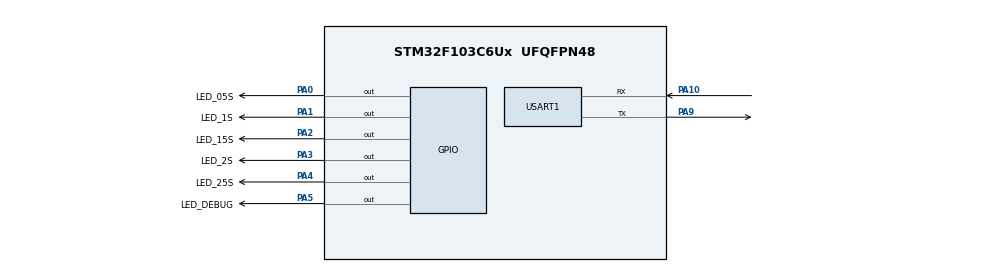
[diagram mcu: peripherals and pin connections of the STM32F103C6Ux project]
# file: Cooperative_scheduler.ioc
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Mcu.Family=STM32F1
Mcu.Name=STM32F103C6Ux
Mcu.Package=UFQFPN48
NVIC.PriorityGroup=NVIC_PRIORITYGROUP_4
NVIC.TIM2_IRQn=true\:0\:0\:false\:false\:true\:true\:true
PA0-WKUP.GPIO_Label=LED_05S
PA0-WKUP.PinState=GPIO_PIN_SET
PA0-WKUP.Signal=GPIO_Output
PA1.GPIO_Label=LED_1S
PA1.PinState=GPIO_PIN_SET
PA1.Signal=GPIO_Output
PA10.Mode=Asynchronous
PA10.Signal=USART1_RX
PA2.GPIO_Label=LED_15S
PA2.PinState=GPIO_PIN_SET
PA2.Signal=GPIO_Output
PA3.GPIO_Label=LED_2S
PA3.PinState=GPIO_PIN_SET
PA3.Signal=GPIO_Output
PA4.GPIO_Label=LED_25S
PA4.PinState=GPIO_PIN_SET
PA4.Signal=GPIO_Output
PA5.GPIO_Label=LED_DEBUG
PA5.PinState=GPIO_PIN_SET
PA5.Signal=GPIO_Output
PA9.Mode=Asynchronous
PA9.Signal=USART1_TX
ProjectManager.HeapSize=0x200
ProjectManager.StackSize=0x400
ProjectManager.TargetToolchain=STM32CubeIDE
RCC.APB1Freq_Value=8000000
RCC.APB2Freq_Value=8000000
TIM2.Period=9
TIM2.Prescaler=7999
USART1.VirtualMode=VM_ASYNC
VP_SYS_VS_ND.Mode=No_Debug
VP_TIM2_VS_ClockSourceINT.Mode=Internal
board=custom

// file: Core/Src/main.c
/* USER CODE BEGIN Header */
/**
  ******************************************************************************
  * @file           : main.c
  * @brief          : Main program body
  ******************************************************************************
  * @attention
  *
  * <h2><center>&copy; Copyright (c) 2026 STMicroelectronics.
  * All rights reserved.</center></h2>
  *
  * This software component is licensed by ST under BSD 3-Clause license,
  * the "License"; You may not use this file except in compliance with the
  * License. You may obtain a copy of the License at:
  *                        opensource.org/licenses/BSD-3-Clause
  *
  ******************************************************************************
  */
/* USER CODE END Header */
#include "main.h"

/* USER CODE BEGIN Includes */
#include <stdio.h>
#include "scheduler.h"
/* USER CODE END Includes */

/* USER CODE BEGIN PD */
// LED noi keo xuong (+3.3V -> R -> LED -> chan MCU): chan = 0 thi LED sang
#define LED_ON		GPIO_PIN_RESET
#define LED_OFF		GPIO_PIN_SET

// Task in timestamp moi 10 ms chi chay trong 1 s dau roi bi xoa (demo SCH_Delete_Task,
// tranh 100 dong/giay lam tran Virtual Terminal)
#define PRINT_10MS_DURATION_MS	1000
/* USER CODE END PD */

TIM_HandleTypeDef htim2;

UART_HandleTypeDef huart1;

/* USER CODE BEGIN PV */
static uint32_t id_print_10ms = NO_TASK_ID;		// giu ID de xoa task sau nay
/* USER CODE END PV */

void SystemClock_Config(void);
static void MX_GPIO_Init(void);
static void MX_TIM2_Init(void);
static void MX_USART1_UART_Init(void);

/* USER CODE BEGIN 0 */
// Chuyen printf ra USART1 (syscalls.c: _write -> __io_putchar tung ky tu)
int __io_putchar(int ch){
	HAL_UART_Transmit(&huart1, (uint8_t *)&ch, 1, 10);
	return ch;
}

/* ---------- 5 task tuan hoan (yeu cau chinh cua lab) ---------- */
// Dao LED roi in: task nao dang chay, tai thoi diem nao, LED sang hay tat
static void led_task(GPIO_TypeDef *port, uint16_t pin, const char *name){
	HAL_GPIO_TogglePin(port, pin);
	printf("[%-5s] t = %5lu ms -> LED %s\r\n", name, SCH_Get_Time(),
	       (HAL_GPIO_ReadPin(port, pin) == LED_ON) ? "sang" : "tat");
}
static void task_led_05s(void){ led_task(LED_05S_GPIO_Port, LED_05S_Pin, "0.5s"); }
static void task_led_1s(void)  { led_task(LED_1S_GPIO_Port,  LED_1S_Pin,  "1s");   }
static void task_led_15s(void){ led_task(LED_15S_GPIO_Port, LED_15S_Pin, "1.5s"); }
static void task_led_2s(void)  { led_task(LED_2S_GPIO_Port,  LED_2S_Pin,  "2s");   }
static void task_led_25s(void){ led_task(LED_25S_GPIO_Port, LED_25S_Pin, "2.5s"); }

/* ---------- Demo theo muc Demonstration cua de ---------- */
// Callback moi 10 ms: in gia tri get_time
static void task_print_10ms(void){
	printf("[10ms ] t = %5lu ms\r\n", SCH_Get_Time());
}

// Timeout 500 ms chay song song voi task 10 ms; LED_DEBUG lam nhip tim
static void task_print_500ms(void){
	HAL_GPIO_TogglePin(LED_DEBUG_GPIO_Port, LED_DEBUG_Pin);
	printf("[500ms] t = %5lu ms\r\n", SCH_Get_Time());
}

// One-shot: xoa task 10 ms theo ID (demo SCH_Delete_Task)
static void oneshot_stop_10ms(void){
	uint8_t ok = SCH_Delete_Task(id_print_10ms);
	printf("[one-shot] t = %5lu ms: xoa task 10ms (ID %lu) -> %s\r\n",
	       SCH_Get_Time(), id_print_10ms, ok ? "OK" : "KHONG TIM THAY");
}

// One-shot them truoc vong while: in timestamp khi het han.
// B1 va B2 cung hen 3000 ms, B1 them truoc -> phai in truoc (FIFO)
static void oneshot_A(void) { printf("[one-shot A ] t = %5lu ms (hen 2000 ms)\r\n", SCH_Get_Time()); }
static void oneshot_B1(void){ printf("[one-shot B1] t = %5lu ms (hen 3000 ms, them truoc B2)\r\n", SCH_Get_Time()); }
static void oneshot_B2(void){ printf("[one-shot B2] t = %5lu ms (hen 3000 ms, them sau B1)\r\n", SCH_Get_Time()); }
static void oneshot_C(void) { printf("[one-shot C ] t = %5lu ms (hen 4500 ms)\r\n", SCH_Get_Time()); }
/* USER CODE END 0 */

int main(void)
{

  /* MCU Configuration--------------------------------------------------------*/

  /* Reset of all peripherals, Initializes the Flash interface and the Systick. */
  HAL_Init();

  /* Configure the system clock */
  SystemClock_Config();

  /* Initialize all configured peripherals */
  MX_GPIO_Init();
  MX_TIM2_Init();
  MX_USART1_UART_Init();
  /* USER CODE BEGIN 2 */
  setvbuf(stdout, NULL, _IONBF, 0);		// tat bo dem stdout: in ra ngay, khong doi '\n'
  printf("\r\n=== Lab 4: Cooperative scheduler, tick %d ms ===\r\n", SCH_TICK_MS);

  SCH_Init();

  // 5 task tuan hoan 0.5 s, 1 s, 1.5 s, 2 s, 2.5 s (don vi tick, SCH_MS doi ms -> tick)
  SCH_Add_Task(task_led_05s, SCH_MS(500),  SCH_MS(500));
  SCH_Add_Task(task_led_1s,  SCH_MS(1000), SCH_MS(1000));
  SCH_Add_Task(task_led_15s, SCH_MS(1500), SCH_MS(1500));
  SCH_Add_Task(task_led_2s,  SCH_MS(2000), SCH_MS(2000));
  SCH_Add_Task(task_led_25s, SCH_MS(2500), SCH_MS(2500));

  // Demo: callback moi 10 ms + timeout 500 ms chay song song
  id_print_10ms = SCH_Add_Task(task_print_10ms, 1, 1);
  SCH_Add_Task(task_print_500ms, SCH_MS(500), SCH_MS(500));
  SCH_Add_Task(oneshot_stop_10ms, SCH_MS(PRINT_10MS_DURATION_MS), 0);

  // One-shot: delay du dai de vong while chay truoc khi chung het han
  SCH_Add_Task(oneshot_A,  SCH_MS(2000), 0);
  SCH_Add_Task(oneshot_B1, SCH_MS(3000), 0);
  SCH_Add_Task(oneshot_B2, SCH_MS(3000), 0);
  SCH_Add_Task(oneshot_C,  SCH_MS(4500), 0);

  HAL_TIM_Base_Start_IT(&htim2);		// bat tick sau khi da them du task
  /* USER CODE END 2 */

  /* Infinite loop */
  while (1)
  {

    /* USER CODE BEGIN 3 */
	  SCH_Dispatch_Tasks();
  }
  /* USER CODE END 3 */
}

void SystemClock_Config(void)
{
  RCC_OscInitTypeDef RCC_OscInitStruct = {0};
  RCC_ClkInitTypeDef RCC_ClkInitStruct = {0};

  /** Initializes the RCC Oscillators according to the specified parameters
  * in the RCC_OscInitTypeDef structure.
  */
  RCC_OscInitStruct.OscillatorType = RCC_OSCILLATORTYPE_HSI;
  RCC_OscInitStruct.HSIState = RCC_HSI_ON;
  RCC_OscInitStruct.HSICalibrationValue = RCC_HSICALIBRATION_DEFAULT;
  RCC_OscInitStruct.PLL.PLLState = RCC_PLL_NONE;
  if (HAL_RCC_OscConfig(&RCC_OscInitStruct) != HAL_OK)
  {
    Error_Handler();
  }
  /** Initializes the CPU, AHB and APB buses clocks
  */
  RCC_ClkInitStruct.ClockType = RCC_CLOCKTYPE_HCLK|RCC_CLOCKTYPE_SYSCLK
                              |RCC_CLOCKTYPE_PCLK1|RCC_CLOCKTYPE_PCLK2;
  RCC_ClkInitStruct.SYSCLKSource = RCC_SYSCLKSOURCE_HSI;
  RCC_ClkInitStruct.AHBCLKDivider = RCC_SYSCLK_DIV1;
  RCC_ClkInitStruct.APB1CLKDivider = RCC_HCLK_DIV1;
  RCC_ClkInitStruct.APB2CLKDivider = RCC_HCLK_DIV1;

  if (HAL_RCC_ClockConfig(&RCC_ClkInitStruct, FLASH_LATENCY_0) != HAL_OK)
  {
    Error_Handler();
  }
}

static void MX_TIM2_Init(void)
{

  TIM_ClockConfigTypeDef sClockSourceConfig = {0};
  TIM_MasterConfigTypeDef sMasterConfig = {0};

  htim2.Instance = TIM2;
  htim2.Init.Prescaler = 7999;
  htim2.Init.CounterMode = TIM_COUNTERMODE_UP;
  htim2.Init.Period = 9;
  htim2.Init.ClockDivision = TIM_CLOCKDIVISION_DIV1;
  htim2.Init.AutoReloadPreload = TIM_AUTORELOAD_PRELOAD_DISABLE;
  if (HAL_TIM_Base_Init(&htim2) != HAL_OK)
  {
    Error_Handler();
  }
  sClockSourceConfig.ClockSource = TIM_CLOCKSOURCE_INTERNAL;
  if (HAL_TIM_ConfigClockSource(&htim2, &sClockSourceConfig) != HAL_OK)
  {
    Error_Handler();
  }
  sMasterConfig.MasterOutputTrigger = TIM_TRGO_RESET;
  sMasterConfig.MasterSlaveMode = TIM_MASTERSLAVEMODE_DISABLE;
  if (HAL_TIMEx_MasterConfigSynchronization(&htim2, &sMasterConfig) != HAL_OK)
  {
    Error_Handler();
  }

}

static void MX_USART1_UART_Init(void)
{

  huart1.Instance = USART1;
  huart1.Init.BaudRate = 115200;
  huart1.Init.WordLength = UART_WORDLENGTH_8B;
  huart1.Init.StopBits = UART_STOPBITS_1;
  huart1.Init.Parity = UART_PARITY_NONE;
  huart1.Init.Mode = UART_MODE_TX_RX;
  huart1.Init.HwFlowCtl = UART_HWCONTROL_NONE;
  huart1.Init.OverSampling = UART_OVERSAMPLING_16;
  if (HAL_UART_Init(&huart1) != HAL_OK)
  {
    Error_Handler();
  }

}

static void MX_GPIO_Init(void)
{
  GPIO_InitTypeDef GPIO_InitStruct = {0};

  /* GPIO Ports Clock Enable */
  __HAL_RCC_GPIOA_CLK_ENABLE();

  /*Configure GPIO pin Output Level */
  HAL_GPIO_WritePin(GPIOA, LED_05S_Pin|LED_1S_Pin|LED_15S_Pin|LED_2S_Pin
                          |LED_25S_Pin|LED_DEBUG_Pin, GPIO_PIN_SET);

  /*Configure GPIO pins : LED_05S_Pin LED_1S_Pin LED_15S_Pin LED_2S_Pin
                           LED_25S_Pin LED_DEBUG_Pin */
  GPIO_InitStruct.Pin = LED_05S_Pin|LED_1S_Pin|LED_15S_Pin|LED_2S_Pin
                          |LED_25S_Pin|LED_DEBUG_Pin;
  GPIO_InitStruct.Mode = GPIO_MODE_OUTPUT_PP;
  GPIO_InitStruct.Pull = GPIO_NOPULL;
  GPIO_InitStruct.Speed = GPIO_SPEED_FREQ_LOW;
  HAL_GPIO_Init(GPIOA, &GPIO_InitStruct);

}

/* USER CODE BEGIN 4 */
// ISR chi goi SCH_Update (O(1)); moi task chay o vong while qua SCH_Dispatch_Tasks
void HAL_TIM_PeriodElapsedCallback(TIM_HandleTypeDef *htim){
	if (htim->Instance == TIM2){
		SCH_Update();
	}
}
/* USER CODE END 4 */

void Error_Handler(void)
{
  __disable_irq();
  while (1)
  {
  }
}

/************************ (C) COPYRIGHT STMicroelectronics *****END OF FILE****/
